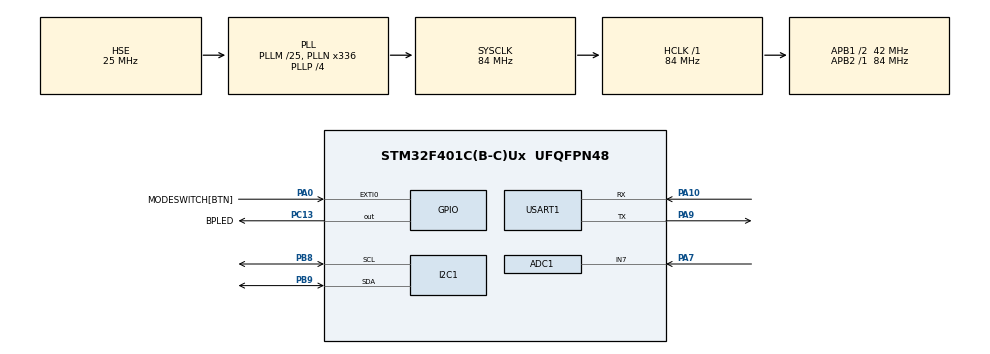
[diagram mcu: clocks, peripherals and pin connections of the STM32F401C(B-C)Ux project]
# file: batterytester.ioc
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ADC1.Channel-0\#ChannelRegularConversion=ADC_CHANNEL_7
ADC1.Channel-1\#ChannelRegularConversion=ADC_CHANNEL_VREFINT
ADC1.DiscontinuousConvMode=ENABLE
ADC1.NbrOfConversion=2
ADC1.NbrOfConversionFlag=1
ADC1.Rank-0\#ChannelRegularConversion=1
ADC1.Rank-1\#ChannelRegularConversion=2
ADC1.SamplingTime-0\#ChannelRegularConversion=ADC_SAMPLETIME_480CYCLES
ADC1.SamplingTime-1\#ChannelRegularConversion=ADC_SAMPLETIME_480CYCLES
ADC1.master=1
Mcu.Family=STM32F4
Mcu.Name=STM32F401C(B-C)Ux
Mcu.Package=UFQFPN48
NVIC.EXTI0_IRQn=true\:0\:0\:false\:false\:true\:true\:true\:true
NVIC.PriorityGroup=NVIC_PRIORITYGROUP_4
NVIC.TIM1_UP_TIM10_IRQn=true\:0\:0\:false\:false\:true\:true\:true\:true
PA0-WKUP.GPIO_Label=MODESWITCH[BTN]
PA0-WKUP.GPIO_PuPd=GPIO_PULLDOWN
PA0-WKUP.Signal=GPXTI0
PA10.Mode=Asynchronous
PA10.Signal=USART1_RX
PA13.Mode=Serial_Wire
PA13.Signal=SYS_JTMS-SWDIO
PA14.Mode=Serial_Wire
PA14.Signal=SYS_JTCK-SWCLK
PA7.Signal=ADCx_IN7
PA9.Mode=Asynchronous
PA9.Signal=USART1_TX
PB8.Mode=I2C
PB8.Signal=I2C1_SCL
PB9.Mode=I2C
PB9.Signal=I2C1_SDA
PC13-ANTI_TAMP.GPIO_Label=BPLED
PC13-ANTI_TAMP.PinState=GPIO_PIN_SET
PC13-ANTI_TAMP.Signal=GPIO_Output
PH0\ -\ OSC_IN.Mode=HSE-External-Oscillator
PH0\ -\ OSC_IN.Signal=RCC_OSC_IN
PH1\ -\ OSC_OUT.Mode=HSE-External-Oscillator
PH1\ -\ OSC_OUT.Signal=RCC_OSC_OUT
ProjectManager.HeapSize=0x200
ProjectManager.StackSize=0x400
ProjectManager.TargetToolchain=STM32CubeIDE
RCC.48MHZClocksFreq_Value=84000000
RCC.AHBFreq_Value=84000000
RCC.APB1CLKDivider=RCC_HCLK_DIV2
RCC.APB1Freq_Value=42000000
RCC.APB1TimFreq_Value=84000000
RCC.APB2Freq_Value=84000000
RCC.APB2TimFreq_Value=84000000
RCC.CortexFreq_Value=84000000
RCC.HCLKFreq_Value=84000000
RCC.HSE_VALUE=25000000
RCC.HSI_VALUE=16000000
RCC.LSE_VALUE=32768
RCC.PLLM=25
RCC.PLLN=336
RCC.PLLP=RCC_PLLP_DIV4
RCC.PLLSourceVirtual=RCC_PLLSOURCE_HSE
RCC.SYSCLKFreq_VALUE=84000000
RCC.SYSCLKSource=RCC_SYSCLKSOURCE_PLLCLK
RCC.VCOOutputFreq_Value=336000000
SH.ADCx_IN7.0=ADC1_IN7,IN7
TIM1.Period=19999
TIM1.Prescaler=8399
USART1.VirtualMode=VM_ASYNC
VP_ADC1_Vref_Input.Mode=IN-Vrefint
VP_TIM1_VS_ClockSourceINT.Mode=Internal
board=custom

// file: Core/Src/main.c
/* USER CODE BEGIN Header */
/**
  ******************************************************************************
  * @file           : main.c
  * @brief          : Main program body
  ******************************************************************************
  * @attention
  *
  * Copyright (c) 2026 STMicroelectronics.
  * All rights reserved.
  *
  * This software is licensed under terms that can be found in the LICENSE file
  * in the root directory of this software component.
  * If no LICENSE file comes with this software, it is provided AS-IS.
  *
  ******************************************************************************
  */
/* USER CODE END Header */
#include "main.h"
#include "adc.h"
#include "i2c.h"
#include "tim.h"
#include "usart.h"
#include "gpio.h"

/* USER CODE BEGIN Includes */
#include "oled.h"
#include "battery.h"
/* USER CODE END Includes */

/* USER CODE BEGIN PV */
volatile uint8_t mode;
volatile uint8_t poll_due = 1;
/* USER CODE END PV */

void SystemClock_Config(void);

int main(void)
{

  /* MCU Configuration--------------------------------------------------------*/

  /* Reset of all peripherals, Initializes the Flash interface and the Systick. */
  HAL_Init();

  /* Configure the system clock */
  SystemClock_Config();

  /* Initialize all configured peripherals */
  MX_GPIO_Init();
  MX_USART1_UART_Init();
  MX_I2C1_Init();
  MX_ADC1_Init();
  MX_TIM1_Init();
  /* USER CODE BEGIN 2 */
  oled_init();
  HAL_TIM_Base_Start_IT(&htim1);
  /* USER CODE END 2 */

  /* Infinite loop */
  /* USER CODE BEGIN WHILE */
  while (1)
  {
    if (poll_due) {
      poll_due = 0;
      const uint16_t pack_mv = read_pack_mv();
      display_charge(mode, battery_percent(mode, pack_mv), pack_mv);
    }
    /* USER CODE END WHILE */

  }
}

void SystemClock_Config(void)
{
  RCC_OscInitTypeDef RCC_OscInitStruct = {0};
  RCC_ClkInitTypeDef RCC_ClkInitStruct = {0};

  /** Configure the main internal regulator output voltage
  */
  __HAL_RCC_PWR_CLK_ENABLE();
  __HAL_PWR_VOLTAGESCALING_CONFIG(PWR_REGULATOR_VOLTAGE_SCALE2);

  /** Initializes the RCC Oscillators according to the specified parameters
  * in the RCC_OscInitTypeDef structure.
  */
  RCC_OscInitStruct.OscillatorType = RCC_OSCILLATORTYPE_HSE;
  RCC_OscInitStruct.HSEState = RCC_HSE_ON;
  RCC_OscInitStruct.PLL.PLLState = RCC_PLL_ON;
  RCC_OscInitStruct.PLL.PLLSource = RCC_PLLSOURCE_HSE;
  RCC_OscInitStruct.PLL.PLLM = 25;
  RCC_OscInitStruct.PLL.PLLN = 336;
  RCC_OscInitStruct.PLL.PLLP = RCC_PLLP_DIV4;
  RCC_OscInitStruct.PLL.PLLQ = 4;
  if (HAL_RCC_OscConfig(&RCC_OscInitStruct) != HAL_OK)
  {
    Error_Handler();
  }

  /** Initializes the CPU, AHB and APB buses clocks
  */
  RCC_ClkInitStruct.ClockType = RCC_CLOCKTYPE_HCLK|RCC_CLOCKTYPE_SYSCLK
                              |RCC_CLOCKTYPE_PCLK1|RCC_CLOCKTYPE_PCLK2;
  RCC_ClkInitStruct.SYSCLKSource = RCC_SYSCLKSOURCE_PLLCLK;
  RCC_ClkInitStruct.AHBCLKDivider = RCC_SYSCLK_DIV1;
  RCC_ClkInitStruct.APB1CLKDivider = RCC_HCLK_DIV2;
  RCC_ClkInitStruct.APB2CLKDivider = RCC_HCLK_DIV1;

  if (HAL_RCC_ClockConfig(&RCC_ClkInitStruct, FLASH_LATENCY_2) != HAL_OK)
  {
    Error_Handler();
  }
}

/* USER CODE BEGIN 4 */
void HAL_TIM_PeriodElapsedCallback(TIM_HandleTypeDef *htim) {
  if (htim -> Instance == TIM1) {
    poll_due = 1;
  }
}
void HAL_GPIO_EXTI_Callback(uint16_t pin) {
  static uint32_t last = 0;
  if (pin != MODESWITCH_Pin) return;
  uint32_t now = HAL_GetTick();
  if (now - last < 200) return;
  last = now;
  mode = (mode + 1) % BATT_MODE_COUNT;
  poll_due = 1;
}
/* USER CODE END 4 */

void Error_Handler(void)
{
  __disable_irq();
  while (1)
  {
  }
}
